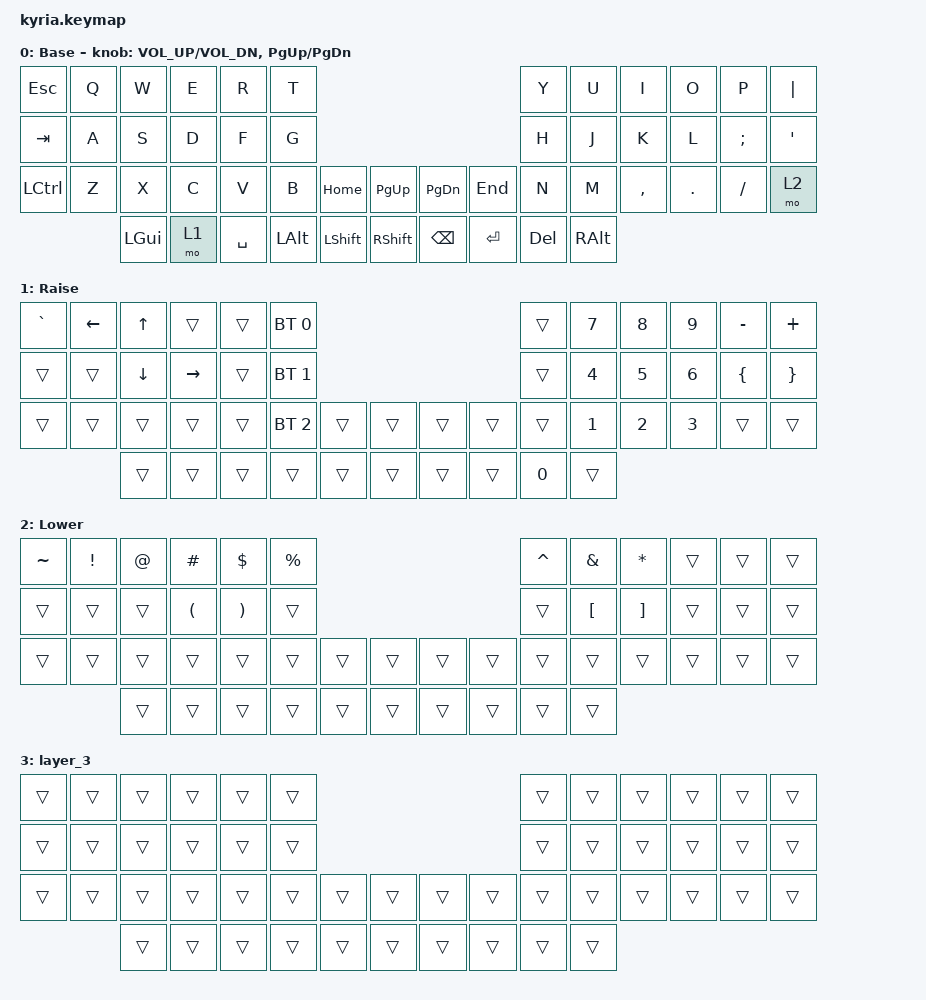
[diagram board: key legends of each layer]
/*
 * Copyright (c) 2020 The ZMK Contributors
 *
 * SPDX-License-Identifier: MIT
 */

#include <behaviors.dtsi>
#include <dt-bindings/zmk/bt.h>
#include <dt-bindings/zmk/keys.h>

/ {
    keymap {
        compatible = "zmk,keymap";

        Base {
            // ---------------------------------------------------------------------------------------------------------------------------------
            // |  ESC  |  Q  |  W  |  E   |  R   |  T   |                                          |  Y   |  U    |  I    |  O   |   P   |   \  |
            // |  TAB  |  A  |  S  |  D   |  F   |  G   |                                          |  H   |  J    |  K    |  L   |   ;   |   '  |
            // | SHIFT |  Z  |  X  |  C   |  V   |  B   | L SHIFT | L SHIFT |  | L SHIFT | L SHIFT |  N   |  M    |  ,    |  .   |   /   | CTRL |
            //                     | GUI  | DEL  | RET  |  SPACE  |   ESC   |  |   RET   |  SPACE  | TAB  | BSPC  | R-ALT |

            bindings = <
&kp ESC           &kp Q  &kp W     &kp E  &kp R      &kp T                                                                    &kp Y    &kp U     &kp I      &kp O    &kp P     &kp PIPE
&kp TAB           &kp A  &kp S     &kp D  &kp F      &kp G                                                                    &kp H    &kp J     &kp K      &kp L    &kp SEMI  &kp SQT
&kp LEFT_CONTROL  &kp Z  &kp X     &kp C  &kp V      &kp B         &kp HOME        &kp PAGE_UP      &kp PAGE_DOWN  &kp END    &kp N    &kp M     &kp COMMA  &kp DOT  &kp FSLH  &mo 2
                         &kp LGUI  &mo 1  &kp SPACE  &kp LEFT_ALT  &kp LEFT_SHIFT  &kp RIGHT_SHIFT  &kp BACKSPACE  &kp ENTER  &kp DEL  &kp RALT
            >;

            sensor-bindings = <&inc_dec_kp C_VOL_UP C_VOL_DN &inc_dec_kp PG_UP PG_DN>;
        };

        Raise {
            bindings = <
&kp GRAVE  &kp LEFT_ARROW  &kp UP_ARROW    &trans           &trans  &bt BT_SEL 0                                  &trans        &kp NUMBER_7  &kp NUMBER_8  &kp NUMBER_9  &kp MINUS       &kp PLUS
&trans     &trans          &kp DOWN_ARROW  &kp RIGHT_ARROW  &trans  &bt BT_SEL 1                                  &trans        &kp NUMBER_4  &kp NUMBER_5  &kp NUMBER_6  &kp LEFT_BRACE  &kp RIGHT_BRACE
&trans     &trans          &trans          &trans           &trans  &bt BT_SEL 2  &trans  &trans  &trans  &trans  &trans        &kp NUMBER_1  &kp NUMBER_2  &kp NUMBER_3  &trans          &trans
                           &trans          &trans           &trans  &trans        &trans  &trans  &trans  &trans  &kp NUMBER_0  &trans
            >;
        };

        Lower {
            bindings = <
&kp TILDE  &kp EXCLAMATION  &kp AT  &kp HASH              &kp DOLLAR             &kp PERCENT                                  &kp CARET  &kp AMPERSAND     &kp STAR           &trans  &trans  &trans
&trans     &trans           &trans  &kp LEFT_PARENTHESIS  &kp RIGHT_PARENTHESIS  &trans                                       &trans     &kp LEFT_BRACKET  &kp RIGHT_BRACKET  &trans  &trans  &trans
&trans     &trans           &trans  &trans                &trans                 &trans       &trans  &trans  &trans  &trans  &trans     &trans            &trans             &trans  &trans  &trans
                            &trans  &trans                &trans                 &trans       &trans  &trans  &trans  &trans  &trans     &trans
            >;
        };

        layer_3 {
            bindings = <
&trans  &trans  &trans  &trans  &trans  &trans                                  &trans  &trans  &trans  &trans  &trans  &trans
&trans  &trans  &trans  &trans  &trans  &trans                                  &trans  &trans  &trans  &trans  &trans  &trans
&trans  &trans  &trans  &trans  &trans  &trans  &trans  &trans  &trans  &trans  &trans  &trans  &trans  &trans  &trans  &trans
                &trans  &trans  &trans  &trans  &trans  &trans  &trans  &trans  &trans  &trans
            >;
        };
    };
};
